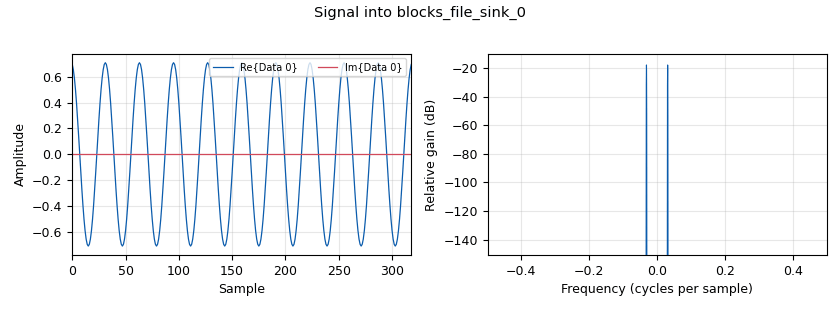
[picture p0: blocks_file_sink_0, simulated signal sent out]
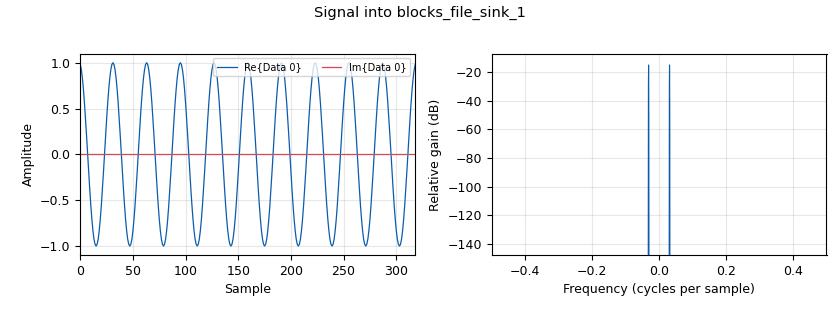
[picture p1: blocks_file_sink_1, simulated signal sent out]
options:
  parameters:
    generate_options: qt_gui
    id: zero_forcing_simul
    output_language: python
    title: Not titled yet
  states: {}

blocks:
- name: H
  id: variable
  parameters:
    value: '[[1+2j, 1+9j]]'
  states: {}
- name: QPSK
  id: variable_constellation
  parameters:
    precision: '8'
    type: qpsk
  states: {state: disabled}
- name: samp_rate
  id: variable
  parameters:
    value: '32000'
  states: {}
- name: analog_const_source_x_0
  id: analog_const_source_x
  parameters:
    const: '0'
    type: float
  states: {}
- name: analog_random_uniform_source_x_0
  id: analog_random_uniform_source_x
  parameters:
    maximum: '3'
    minimum: '0'
    seed: '0'
    type: byte
  states: {state: disabled}
- name: analog_sig_source_x_0
  id: analog_sig_source_x
  parameters:
    amp: '1'
    freq: '1000'
    offset: '0'
    phase: '0'
    samp_rate: samp_rate
    type: float
    waveform: analog.GR_COS_WAVE
  states: {}
- name: blocks_add_xx_0
  id: blocks_add_xx
  parameters:
    type: complex
  states: {}
- name: blocks_file_sink_0
  id: blocks_file_sink
  parameters:
    file: dumpOUT
    type: complex
  states: {}
- name: blocks_file_sink_1
  id: blocks_file_sink
  parameters:
    file: dumpIN
    type: complex
  states: {}
- name: blocks_float_to_complex_0
  id: blocks_float_to_complex
  parameters: {}
  states: {}
- name: blocks_multiply_const_vxx_0
  id: blocks_multiply_const_vxx
  parameters:
    const: H[0][0]
    type: complex
  states: {}
- name: blocks_multiply_const_vxx_1
  id: blocks_multiply_const_vxx
  parameters:
    const: H[0][1]
    type: complex
  states: {}
- name: blocks_null_sink_0
  id: blocks_null_sink
  parameters:
    type: complex
  states: {}
- name: blocks_null_sink_0_0
  id: blocks_null_sink
  parameters:
    type: complex
  states: {}
- name: blocks_null_sink_0_0_0
  id: blocks_null_sink
  parameters:
    type: complex
  states: {}
- name: blocks_null_sink_0_0_0_0
  id: blocks_null_sink
  parameters:
    type: complex
  states: {}
- name: blocks_throttle_0
  id: blocks_throttle
  parameters:
    samples_per_second: samp_rate
    type: complex
  states: {}
- name: blocks_vector_source_x_0
  id: blocks_vector_source_x
  parameters:
    repeat: 'False'
    type: complex
    vector: '[1] * 500'
  states: {state: disabled}
- name: digital_constellation_modulator_0
  id: digital_constellation_modulator
  parameters:
    constellation: QPSK
    differential: 'True'
    excess_bw: '0.35'
    samples_per_symbol: '2'
  states: {state: disabled}
- name: epy_block_0
  id: epy_block
  parameters:
    H: H
    _source_code: |
      """
      ZERO FORCING
      """

      import numpy as np
      from gnuradio import gr
      import math

      class blk(gr.sync_block):  # other base classes are basic_block, decim_block, interp_block
          def __init__(self, H=[[1, 0]]):  # only default arguments here
              gr.sync_block.__init__(
                  self,
                  name='ZF precoder',   # will show up in GRC
                  in_sig=[np.complex64],
                  out_sig=[np.complex64, np.complex64]
              )
              self.H = H
              self.F = np.linalg.pinv(self.H) * (1/math.sqrt(2))
              print("ZF precoder : " ,self.F)

          def work(self, input_items, output_items):
              x = [np.transpose(input_items[0])]
              x_precoded = np.matmul(self.F, x)
              
              output_items[0][:] = x_precoded[0]
              output_items[1][:] = x_precoded[1]

              return len(output_items[0])
  states: {}
- name: epy_block_1
  id: epy_block
  parameters:
    _source_code: |
      """
      DBS
      """

      import numpy as np
      from gnuradio import gr
      import math

      class blk(gr.sync_block):  # other base classes are basic_block, decim_block, interp_block
          """Embedded Python Block example - a simple multiply const"""

          def __init__(self, angle=0.0):  # only default arguments here
              """arguments to this function show up as parameters in GRC"""
              gr.sync_block.__init__(
                  self,
                  name='DBS precoder',   # will show up in GRC
                  in_sig=[np.complex64],
                  out_sig=[np.complex64, np.complex64]
              )
              # if an attribute with the same name as a parameter is found,
              # a callback is registered (properties work, too).
              self.angle = angle  # [-90 -> 90]
              self.F = np.transpose([np.exp(-1j*math.pi*math.sin(angle*math.pi/180)*np.arange(1,2+1))]) * (1/math.sqrt(2))
              print("DBS precoder : " ,self.F)

          def work(self, input_items, output_items):

              x = [np.transpose(input_items[0])]
              x_precoded = np.matmul(self.F, x)
              
              output_items[0][:] = x_precoded[0]
              output_items[1][:] = x_precoded[1]

              return len(output_items[0])
    angle: '0'
  states: {}
- name: epy_block_1_0
  id: epy_block
  parameters:
    _source_code: |
      """
      DBS
      """

      import numpy as np
      from gnuradio import gr
      import math

      class blk(gr.sync_block):  # other base classes are basic_block, decim_block, interp_block
          """Embedded Python Block example - a simple multiply const"""

          def __init__(self, angle=0.0):  # only default arguments here
              """arguments to this function show up as parameters in GRC"""
              gr.sync_block.__init__(
                  self,
                  name='No precoder',   # will show up in GRC
                  in_sig=[np.complex64],
                  out_sig=[np.complex64, np.complex64]
              )
              # if an attribute with the same name as a parameter is found,
              # a callback is registered (properties work, too).
              self.F = np.transpose([np.ones((1,2))]) * (1/math.sqrt(2))
              print("no precoder : " ,self.F)

          def work(self, input_items, output_items):
              
              x = [np.transpose(input_items[0])]
              x_precoded = np.matmul(self.F, x)
              
              output_items[0][:] = x_precoded[0]
              output_items[1][:] = x_precoded[1]

              return len(output_items[0])
    angle: '0'
  states: {}

connections:
- [analog_const_source_x_0, '0', blocks_float_to_complex_0, '1']
- [analog_random_uniform_source_x_0, '0', digital_constellation_modulator_0, '0']
- [analog_sig_source_x_0, '0', blocks_float_to_complex_0, '0']
- [blocks_add_xx_0, '0', blocks_file_sink_0, '0']
- [blocks_float_to_complex_0, '0', blocks_file_sink_1, '0']
- [blocks_float_to_complex_0, '0', blocks_throttle_0, '0']
- [blocks_multiply_const_vxx_0, '0', blocks_add_xx_0, '0']
- [blocks_multiply_const_vxx_1, '0', blocks_add_xx_0, '1']
- [blocks_throttle_0, '0', epy_block_0, '0']
- [blocks_throttle_0, '0', epy_block_1, '0']
- [blocks_throttle_0, '0', epy_block_1_0, '0']
- [blocks_vector_source_x_0, '0', blocks_file_sink_1, '0']
- [blocks_vector_source_x_0, '0', blocks_throttle_0, '0']
- [digital_constellation_modulator_0, '0', blocks_file_sink_1, '0']
- [digital_constellation_modulator_0, '0', blocks_throttle_0, '0']
- [epy_block_0, '0', blocks_multiply_const_vxx_0, '0']
- [epy_block_0, '1', blocks_multiply_const_vxx_1, '0']
- [epy_block_1, '0', blocks_null_sink_0, '0']
- [epy_block_1, '1', blocks_null_sink_0_0, '0']
- [epy_block_1_0, '0', blocks_null_sink_0_0_0, '0']
- [epy_block_1_0, '1', blocks_null_sink_0_0_0_0, '0']

metadata:
  file_format: 1
  grc_version: 3.10.2.0
